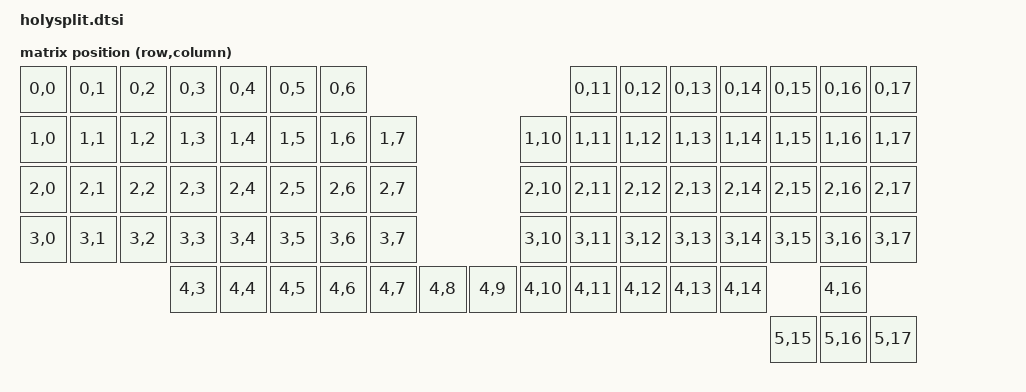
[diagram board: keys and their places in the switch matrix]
#include <dt-bindings/zmk/matrix_transform.h>
#include <physical_layouts.dtsi>

/ {
	chosen {
		zmk,kscan = &kscan0;
		zmk,matrix_transform = &default_transform;
		zmk,physical-layout = &physical_layout;
	};

	default_transform: keymap_transform_0 {
		compatible = "zmk,matrix-transform";
		columns = <18>;
		rows = <5>;
		
		map = <
			RC(0,0) RC(0,1) RC(0,2) RC(0,3) RC(0,4) RC(0,5) RC(0,6)                                    RC(0,11) RC(0,12) RC(0,13) RC(0,14) RC(0,15) RC(0,16) RC(0,17)
            RC(1,0) RC(1,1) RC(1,2) RC(1,3) RC(1,4) RC(1,5) RC(1,6) RC(1,7)                   RC(1,10) RC(1,11) RC(1,12) RC(1,13) RC(1,14) RC(1,15) RC(1,16) RC(1,17)
			RC(2,0) RC(2,1) RC(2,2) RC(2,3) RC(2,4) RC(2,5) RC(2,6) RC(2,7)                   RC(2,10) RC(2,11) RC(2,12) RC(2,13) RC(2,14) RC(2,15) RC(2,16) RC(2,17)
			RC(3,0) RC(3,1) RC(3,2) RC(3,3) RC(3,4) RC(3,5) RC(3,6) RC(3,7)                   RC(3,10) RC(3,11) RC(3,12) RC(3,13) RC(3,14) RC(3,15) RC(3,16) RC(3,17)
			                        RC(4,3) RC(4,4) RC(4,5) RC(4,6) RC(4,7) RC(4,8)   RC(4,9) RC(4,10) RC(4,11) RC(4,12) RC(4,13) RC(4,14)          RC(4,16) 
			                                                                                                                               RC(5,15) RC(5,16) RC(5,17)
		>;
	};

	kscan0: kscan {
		compatible = "zmk,kscan-gpio-matrix";
		diode-direction = "col2row";
	};

	physical_layout: physical_layout {
		compatible = "zmk,physical-layout";
		display-name = "HolySplit";
		
		transform = <&default_transform>;
		
		kscan = <&kscan0>;
		
		keys  // x, y(mm), rotation, width, height (in key units)
			// Row 0 - Top number row
			= <  0    0  0 1 1>  // F13
			, < 24    0  0 1 1>  // Esc
			, < 43    0  0 1 1>  // 1
			, < 62    0  0 1 1>  // 2
			, < 81    0  0 1 1>  // 3
			, <100    0  0 1 1>  // 4
			, <119    0  0 1 1>  // 5
			, <195    0  0 1 1>  // 6
			, <214    0  0 1 1>  // 7
			, <233    0  0 1 1>  // 8
			, <252    0  0 1 1>  // 9
			, <271    0  0 1 1>  // 0
			, <290    0  0 1 1>  // Bksp
			, <314    0  0 1 1>  // F17
			
			// Row 1 - QWERTY
			, <  0   19  0 1 1>  // F14
			, < 24   19  0 1 1>  // Tab
			, < 43   19  0 1 1>  // Q
			, < 62   19  0 1 1>  // W
			, < 81   19  0 1 1>  // E
			, <100   19  0 1 1>  // R
			, <119   19  0 1 1>  // T
			, <138   19  0 1 1>  // Del
			, <176   19  0 1 1>  // `
			, <195   19  0 1 1>  // Y
			, <214   19  0 1 1>  // U
			, <233   19  0 1 1>  // I
			, <252   19  0 1 1>  // O
			, <271   19  0 1 1>  // P
			, <290   19  0 1 1>  // \
			, <314   19  0 1 1>  // F18
			
			// Row 2 - Home row
			, <  0   38  0 1 1>  // F15
			, < 24   38  0 1 1>  // Caps
			, < 43   38  0 1 1>  // A
			, < 62   38  0 1 1>  // S
			, < 81   38  0 1 1>  // D
			, <100   38  0 1 1>  // F
			, <119   38  0 1 1>  // G
			, <138   38  0 1 1>  // -
			, <176   38  0 1 1>  // J (left)
			, <195   38  0 1 1>  // H
			, <214   38  0 1 1>  // J (right)
			, <233   38  0 1 1>  // K
			, <252   38  0 1 1>  // L
			, <271   38  0 1 1>  // ;
			, <290   38  0 1 1>  // Enter
			, <314   38  0 1 1>  // F19
			
			// Row 3 - Bottom row
			, <  0   57  0 1 1>  // F16
			, < 24   57  0 1 1>  // Shift
			, < 43   57  0 1 1>  // Z
			, < 62   57  0 1 1>  // X
			, < 81   57  0 1 1>  // C
			, <100   57  0 1 1>  // V
			, <119   57  0 1 1>  // B
			, <138   57  0 1 1>  // =
			, <176   57  0 1 1>  // [
			, <195   57  0 1 1>  // ]
			, <214   57  0 1 1>  // N
			, <233   57  0 1 1>  // M
			, <252   57  0 1 1>  // ,
			, <271   57  0 1 1>  // .
			, <290   57  0 1 1>  // /
			, <314   57  0 1 1>  // F20
			
			// Thumb cluster row 1
			, < 57   81  0 1 1>  // Win (left)
			, < 76   81  0 1 1>  // Alt
			, < 95   81  0 1 1>  // Ctrl
			, <138   81 15 1 1>  // Layer1
			, <171   81 30 1 1>  // Layer3
			, <195   81 60 1 1>  // Layer4
			, <233  -57 -60 1 1>  // Layer5
			, <252  -57 -30 1 1>  // Ctrl (right)
			, <271  -38 -15 1 1>  // Space
			, <209   81  0 1 1>  // Layer2
			, <242   81  0 1 1>  // Win (right)
			, <261   81  0 1 1>  // Shift (right)
			
			// Arrow cluster
			, <385   71  0 1 1>  // Up
			, <366   90  0 1 1>  // Left
			, <385   90  0 1 1>  // Down
			, <404   90  0 1 1>  // Right
			;
	};
};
